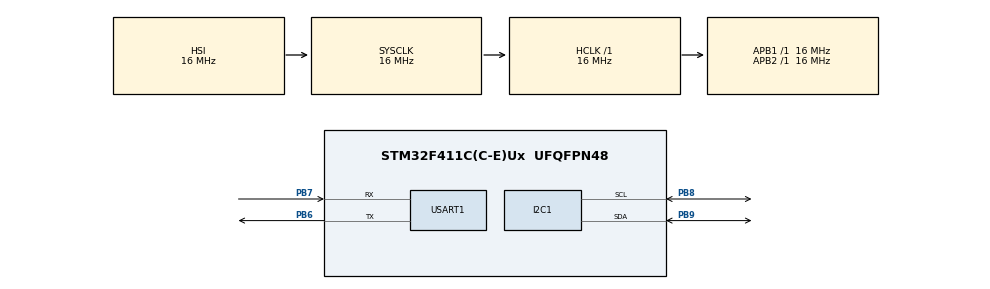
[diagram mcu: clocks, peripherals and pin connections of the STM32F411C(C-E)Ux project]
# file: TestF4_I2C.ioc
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Mcu.Family=STM32F4
Mcu.Name=STM32F411C(C-E)Ux
Mcu.Package=UFQFPN48
NVIC.PriorityGroup=NVIC_PRIORITYGROUP_4
PA13.Mode=Serial_Wire
PA13.Signal=SYS_JTMS-SWDIO
PA14.Mode=Serial_Wire
PA14.Signal=SYS_JTCK-SWCLK
PB6.Mode=Asynchronous
PB6.Signal=USART1_TX
PB7.Mode=Asynchronous
PB7.Signal=USART1_RX
PB8.Mode=I2C
PB8.Signal=I2C1_SCL
PB9.Mode=I2C
PB9.Signal=I2C1_SDA
ProjectManager.HeapSize=0x200
ProjectManager.StackSize=0x400
ProjectManager.TargetToolchain=STM32CubeIDE
RCC.AHBFreq_Value=16000000
RCC.APB1Freq_Value=16000000
RCC.APB2Freq_Value=16000000
RCC.CortexFreq_Value=16000000
RCC.HSE_VALUE=25000000
RCC.HSI_VALUE=16000000
RCC.LSE_VALUE=32768
RCC.SYSCLKFreq_VALUE=16000000
RCC.VCOOutputFreq_Value=192000000
USART1.VirtualMode=VM_ASYNC
board=custom

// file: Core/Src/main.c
/* USER CODE BEGIN Header */
/**
  ******************************************************************************
  * @file           : main.c
  * @brief          : Пример работы с DS1307Z+ (RTC) по I2C1 и выводом в UART1
  * @author         : Автор
  * @board          : Red Kit (STM32F411CE)
  * @peripherals    : I2C1 (PB8 - SDA, PB9 - SCL), USART1 (PB6 - TX, PB7 - RX)
  ******************************************************************************
  В данном листинге представлен полный проект для микроконтроллера
  STM32F411CE (плата Red Kit), демонстрирующий работу с внешними
  часами реального времени DS1307Z+ по интерфейсу I2C.
  Данные считываются каждую секунду и выводятся в UART-терминал.
  Код использует HAL-библиотеку, содержит функции преобразования
   BCD-формата и корректную обработку ошибок,
   включая проверку инициализации UART перед выводом критических сообщений.
  */

/* USER CODE END Header */
#include "main.h"

/* USER CODE BEGIN Includes */
#include <stdio.h>
#include <string.h>
/* USER CODE END Includes */

/* USER CODE BEGIN PTD */

// Структура для хранения времени и даты DS1307
typedef struct {
    uint8_t seconds;
    uint8_t minutes;
    uint8_t hours;
    uint8_t dayOfWeek;   // 1-7 (Sunday = 1)
    uint8_t dayOfMonth;  // 1-31
    uint8_t month;       // 1-12
    uint8_t year;        // 0-99
} RTC_TimeTypeDef;

/* USER CODE END PTD */

/* USER CODE BEGIN PD */
#define DS1307_ADDR         0x68  // 7-битный адрес DS1307
#define DS1307_ADDR_WRITE   (DS1307_ADDR << 1)      // 0xD0
#define DS1307_ADDR_READ    ((DS1307_ADDR << 1) | 1) // 0xD1

// Регистры DS1307
#define DS1307_REG_SECONDS      0x00
#define DS1307_REG_MINUTES      0x01
#define DS1307_REG_HOURS        0x02
#define DS1307_REG_DAYOFWEEK    0x03
#define DS1307_REG_DAYOFMONTH   0x04
#define DS1307_REG_MONTH        0x05
#define DS1307_REG_YEAR         0x06
#define DS1307_REG_CONTROL      0x07

// Бит CH (Clock Halt) в регистре секунд
#define DS1307_BIT_CH           7

/* USER CODE END PD */

I2C_HandleTypeDef hi2c1;

UART_HandleTypeDef huart1;

/* USER CODE BEGIN PV */
RTC_TimeTypeDef currentTime;
char displayBuffer[64];
/* USER CODE END PV */

void SystemClock_Config(void);
static void MX_GPIO_Init(void);
static void MX_USART1_UART_Init(void);
static void MX_I2C1_Init(void);
/* USER CODE BEGIN PFP */
void DS1307_Init(void);
uint8_t DS1307_ReadByte(uint8_t reg);
void DS1307_WriteByte(uint8_t reg, uint8_t data);
void DS1307_ReadTime(RTC_TimeTypeDef *time);
void DS1307_SetTime(RTC_TimeTypeDef *time);
void DS1307_PrintTime(void);
uint8_t BCD_To_Dec(uint8_t bcd);
uint8_t Dec_To_BCD(uint8_t dec);
void Error_Handler(void);
/* USER CODE END PFP */

int main(void)
{

  /* USER CODE BEGIN 1 */
  RTC_TimeTypeDef initialTime = {
      .seconds = 0,
      .minutes = 0,
      .hours   = 12,
      .dayOfWeek = 6,   // Saturday
      .dayOfMonth = 8,
      .month   = 8,
      .year    = 26
  };
  /* USER CODE END 1 */

  /* MCU Configuration--------------------------------------------------------*/

  /* Reset of all peripherals, Initializes the Flash interface and the Systick. */
  HAL_Init();

  /* Configure the system clock */
  SystemClock_Config();

  /* Initialize all configured peripherals */
  MX_GPIO_Init();
  MX_USART1_UART_Init();
  MX_I2C1_Init();
  /* USER CODE BEGIN 2 */
  printf("\n\r=== DS1307 RTC Demo ===\n\r");
  printf("Initialization of DS1307...\n\r");

  DS1307_Init();

  //Пример установки времени
  printf("Set Time Type: 12:00:00 08/08/2026\n\r");
  DS1307_SetTime(&initialTime);

  printf("Done. Time reading every 1 second:\n\r");
  /* USER CODE END 2 */

  /* Infinite loop */
  /* USER CODE BEGIN WHILE */
  while (1) {
    DS1307_ReadTime(&currentTime);
    DS1307_PrintTime();

    HAL_Delay(1000);
    /* USER CODE END WHILE */

  }
}

void SystemClock_Config(void)
{
  RCC_OscInitTypeDef RCC_OscInitStruct = {0};
  RCC_ClkInitTypeDef RCC_ClkInitStruct = {0};

  /** Configure the main internal regulator output voltage
  */
  __HAL_RCC_PWR_CLK_ENABLE();
  __HAL_PWR_VOLTAGESCALING_CONFIG(PWR_REGULATOR_VOLTAGE_SCALE1);

  /** Initializes the RCC Oscillators according to the specified parameters
  * in the RCC_OscInitTypeDef structure.
  */
  RCC_OscInitStruct.OscillatorType = RCC_OSCILLATORTYPE_HSI;
  RCC_OscInitStruct.HSIState = RCC_HSI_ON;
  RCC_OscInitStruct.HSICalibrationValue = RCC_HSICALIBRATION_DEFAULT;
  RCC_OscInitStruct.PLL.PLLState = RCC_PLL_NONE;
  if (HAL_RCC_OscConfig(&RCC_OscInitStruct) != HAL_OK)
  {
    Error_Handler();
  }

  /** Initializes the CPU, AHB and APB buses clocks
  */
  RCC_ClkInitStruct.ClockType = RCC_CLOCKTYPE_HCLK|RCC_CLOCKTYPE_SYSCLK
                              |RCC_CLOCKTYPE_PCLK1|RCC_CLOCKTYPE_PCLK2;
  RCC_ClkInitStruct.SYSCLKSource = RCC_SYSCLKSOURCE_HSI;
  RCC_ClkInitStruct.AHBCLKDivider = RCC_SYSCLK_DIV1;
  RCC_ClkInitStruct.APB1CLKDivider = RCC_HCLK_DIV1;
  RCC_ClkInitStruct.APB2CLKDivider = RCC_HCLK_DIV1;

  if (HAL_RCC_ClockConfig(&RCC_ClkInitStruct, FLASH_LATENCY_0) != HAL_OK)
  {
    Error_Handler();
  }
}

static void MX_I2C1_Init(void)
{

  hi2c1.Instance = I2C1;
  hi2c1.Init.ClockSpeed = 100000;
  hi2c1.Init.DutyCycle = I2C_DUTYCYCLE_2;
  hi2c1.Init.OwnAddress1 = 0;
  hi2c1.Init.AddressingMode = I2C_ADDRESSINGMODE_7BIT;
  hi2c1.Init.DualAddressMode = I2C_DUALADDRESS_DISABLE;
  hi2c1.Init.OwnAddress2 = 0;
  hi2c1.Init.GeneralCallMode = I2C_GENERALCALL_DISABLE;
  hi2c1.Init.NoStretchMode = I2C_NOSTRETCH_DISABLE;
  if (HAL_I2C_Init(&hi2c1) != HAL_OK)
  {
    Error_Handler();
  }

}

static void MX_USART1_UART_Init(void)
{

  huart1.Instance = USART1;
  huart1.Init.BaudRate = 115200;
  huart1.Init.WordLength = UART_WORDLENGTH_8B;
  huart1.Init.StopBits = UART_STOPBITS_1;
  huart1.Init.Parity = UART_PARITY_NONE;
  huart1.Init.Mode = UART_MODE_TX_RX;
  huart1.Init.HwFlowCtl = UART_HWCONTROL_NONE;
  huart1.Init.OverSampling = UART_OVERSAMPLING_16;
  if (HAL_UART_Init(&huart1) != HAL_OK)
  {
    Error_Handler();
  }

}

static void MX_GPIO_Init(void)
{

  /* GPIO Ports Clock Enable */
  __HAL_RCC_GPIOA_CLK_ENABLE();
  __HAL_RCC_GPIOB_CLK_ENABLE();

}

/* USER CODE BEGIN 4 */

/**
  * @brief Преобразование BCD в десятичное число
  */
uint8_t BCD_To_Dec(uint8_t bcd) {
    return ((bcd >> 4) * 10) + (bcd & 0x0F);
}

/**
  * @brief Преобразование десятичного числа в BCD
  */
uint8_t Dec_To_BCD(uint8_t dec) {
    return ((dec / 10) << 4) | (dec % 10);
}

/**
  * @brief Инициализация DS1307: проверка наличия и запуск генератора
  */
void DS1307_Init(void) {
    // Проверяем доступность устройства
    if (HAL_I2C_IsDeviceReady(&hi2c1, DS1307_ADDR_WRITE, 3, 100) != HAL_OK) {
        printf("ERROR: DS1307 is not detected on the I2C bus!\n\r");
        Error_Handler();
    }

    // Читаем регистр секунд и сбрасываем бит CH (Clock Halt)
    uint8_t seconds = DS1307_ReadByte(DS1307_REG_SECONDS);
    if (seconds & (1 << DS1307_BIT_CH)) {
        DS1307_WriteByte(DS1307_REG_SECONDS, seconds & ~(1 << DS1307_BIT_CH));
        printf("DS1307 is running (the CH bit is reset)\n\r");
    } else {
        printf("DS1307 is already working\n\r");
    }
}

/**
  * @brief Чтение одного байта из регистра DS1307
  */
uint8_t DS1307_ReadByte(uint8_t reg) {
    uint8_t data = 0;
    HAL_I2C_Mem_Read(&hi2c1, DS1307_ADDR_WRITE, reg, I2C_MEMADD_SIZE_8BIT, &data, 1, 100);
    return data;
}

/**
  * @brief Запись одного байта в регистр DS1307
  */
void DS1307_WriteByte(uint8_t reg, uint8_t data) {
    HAL_I2C_Mem_Write(&hi2c1, DS1307_ADDR_WRITE, reg, I2C_MEMADD_SIZE_8BIT, &data, 1, 100);
}

/**
  * @brief Чтение полного времени из DS1307
  */
void DS1307_ReadTime(RTC_TimeTypeDef *time) {
    uint8_t data[7];

    // Последовательное чтение 7 байт с регистра 0x00
    HAL_I2C_Mem_Read(&hi2c1, DS1307_ADDR_WRITE, DS1307_REG_SECONDS,
                     I2C_MEMADD_SIZE_8BIT, data, 7, 100);

    // Преобразование BCD в десятичные значения
    time->seconds = BCD_To_Dec(data[0] & 0x7F);  // Бит CH исключаем
    time->minutes = BCD_To_Dec(data[1]);
    time->hours   = BCD_To_Dec(data[2] & 0x3F);  // 24-часовой режим
    time->dayOfWeek = BCD_To_Dec(data[3]);
    time->dayOfMonth = BCD_To_Dec(data[4]);
    time->month = BCD_To_Dec(data[5]);
    time->year  = BCD_To_Dec(data[6]);
}

/**
  * @brief Установка времени в DS1307
  */
void DS1307_SetTime(RTC_TimeTypeDef *time) {
    uint8_t data[7];

    data[0] = Dec_To_BCD(time->seconds);
    data[1] = Dec_To_BCD(time->minutes);
    data[2] = Dec_To_BCD(time->hours);
    data[3] = Dec_To_BCD(time->dayOfWeek);
    data[4] = Dec_To_BCD(time->dayOfMonth);
    data[5] = Dec_To_BCD(time->month);
    data[6] = Dec_To_BCD(time->year);

    // Последовательная запись 7 байт начиная с регистра 0x00
    HAL_I2C_Mem_Write(&hi2c1, DS1307_ADDR_WRITE, DS1307_REG_SECONDS,
                      I2C_MEMADD_SIZE_8BIT, data, 7, 100);
}

/**
  * @brief Вывод времени в UART
  */
void DS1307_PrintTime(void) {
    sprintf(displayBuffer, "Time: %02d:%02d:%02d  Date: %02d/%02d/20%02d  Day: %d\n\r",
            currentTime.hours, currentTime.minutes, currentTime.seconds,
            currentTime.dayOfMonth, currentTime.month, currentTime.year,
            currentTime.dayOfWeek);

    printf("%s", displayBuffer);
}

/**
  * @brief Переопределение _write для перенаправления printf в UART1
  */
int _write(int file, char *ptr, int len) {
    HAL_UART_Transmit(&huart1, (uint8_t*)ptr, len, HAL_MAX_DELAY);
    return len;
}

/* USER CODE END 4 */

void Error_Handler(void)
{
  /* USER CODE BEGIN Error_Handler_Debug */
  /* User can add his own implementation to report the HAL error return state */
	// Check if UART is initialized before using printf
	if (huart1.Instance != NULL) {
	      if (huart1.Instance->CR1 & USART_CR1_UE) {
	          printf("!!! Critical ERROR !!!\n\r");
	      }
	  }
	__disable_irq();
  while (1)
  {
  }
  /* USER CODE END Error_Handler_Debug */
}
